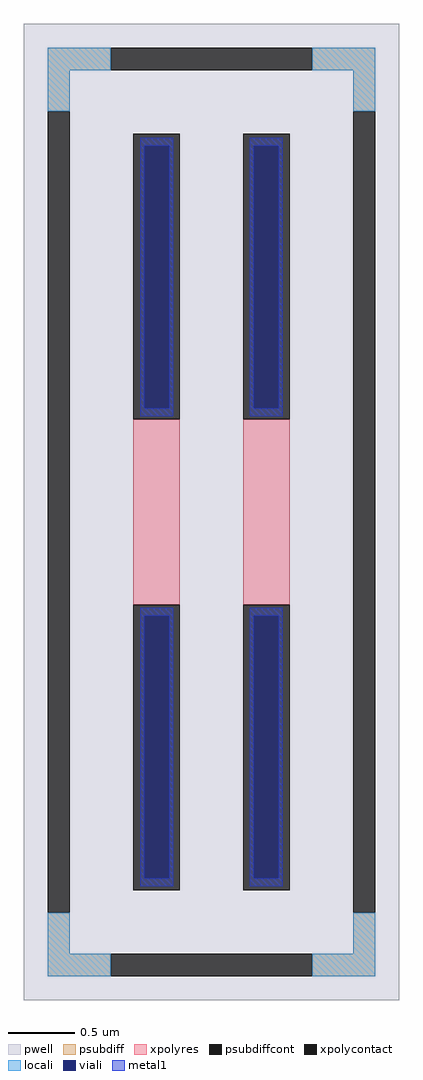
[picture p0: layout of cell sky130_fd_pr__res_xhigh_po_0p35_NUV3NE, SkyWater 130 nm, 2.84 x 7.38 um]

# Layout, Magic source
magic
tech sky130B
magscale 1 2
<< pwell >>
rect -284 -738 284 738
<< psubdiff >>
rect -248 668 -152 702
rect 152 668 248 702
rect -248 606 -214 668
rect 214 606 248 668
rect -248 -668 -214 -606
rect 214 -668 248 -606
rect -248 -702 -152 -668
rect 152 -702 248 -668
<< psubdiffcont >>
rect -152 668 152 702
rect -248 -606 -214 606
rect 214 -606 248 606
rect -152 -702 152 -668
<< xpolycontact >>
rect -118 140 -48 572
rect -118 -572 -48 -140
rect 48 140 118 572
rect 48 -572 118 -140
<< xpolyres >>
rect -118 -140 -48 140
rect 48 -140 118 140
<< locali >>
rect -248 668 -152 702
rect 152 668 248 702
rect -248 606 -214 668
rect 214 606 248 668
rect -248 -668 -214 -606
rect 214 -668 248 -606
rect -248 -702 -152 -668
rect 152 -702 248 -668
<< viali >>
rect -102 157 -64 554
rect 64 157 102 554
rect -102 -554 -64 -157
rect 64 -554 102 -157
<< metal1 >>
rect -108 554 -58 566
rect -108 157 -102 554
rect -64 157 -58 554
rect -108 145 -58 157
rect 58 554 108 566
rect 58 157 64 554
rect 102 157 108 554
rect 58 145 108 157
rect -108 -157 -58 -145
rect -108 -554 -102 -157
rect -64 -554 -58 -157
rect -108 -566 -58 -554
rect 58 -157 108 -145
rect 58 -554 64 -157
rect 102 -554 108 -157
rect 58 -566 108 -554
<< properties >>
string FIXED_BBOX -231 -685 231 685
string gencell sky130_fd_pr__res_xhigh_po_0p35
string library sky130
string parameters w 0.350 l 1.562 m 1 nx 2 wmin 0.350 lmin 0.50 class resistor rho 2000 val 10.001k dummy 0 dw 0.0 term 188.2 sterm 0.0 caplen 0 wmax 0.350 guard 1 glc 1 grc 1 gtc 1 gbc 1 compatible {sky130_fd_pr__res_xhigh_po_0p35  sky130_fd_pr__res_xhigh_po_0p69 sky130_fd_pr__res_xhigh_po_1p41  sky130_fd_pr__res_xhigh_po_2p85 sky130_fd_pr__res_xhigh_po_5p73} snake 0 full_metal 1 n_guard 0 hv_guard 0 vias 1 viagb 0 viagt 0 viagl 0 viagr 0
<< end >>
